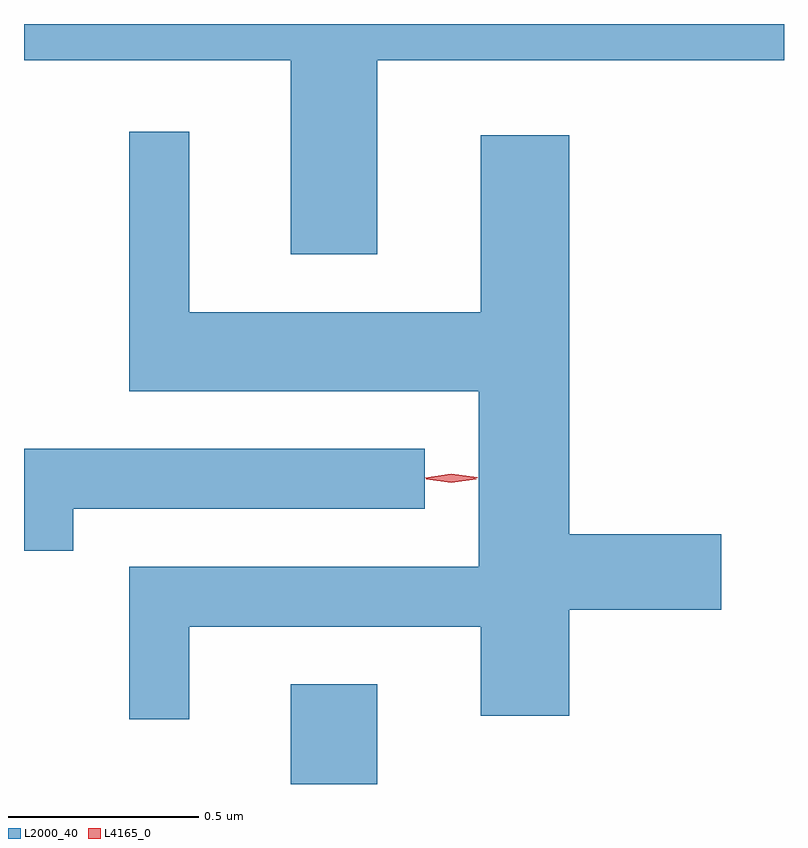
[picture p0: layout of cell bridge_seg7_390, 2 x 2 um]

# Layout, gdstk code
import gdstk
lib = gdstk.Library(unit=1e-6, precision=1e-09)
def R(c, l, rs):  # rectangles x0, y0, x1, y1
    for r in rs: c.add(gdstk.rectangle(r[:2], r[2:], *l))
def P(c, l, *ps):  # polygons
    for p in ps: c.add(gdstk.Polygon(p, *l))
L2000_40 = (2000, 40)
L4165_0 = (4165, 0)

bridge_seg7_390 = lib.new_cell('bridge_seg7_390')
R(bridge_seg7_390, L2000_40, [(1082.781,1796.772,1083.009,1797.034)])
P(bridge_seg7_390, L2000_40, [(1083.009,1798.676),(1084.079,1798.676),(1084.079,1798.772),(1082.079,1798.772),(1082.079,1798.676),(1082.781,1798.676),(1082.781,1798.166),(1083.009,1798.166)],
  [(1082.514,1797.186),(1083.281,1797.186),(1083.281,1796.951),(1083.514,1796.951),(1083.514,1797.231),(1083.914,1797.231),(1083.914,1797.429),(1083.514,1797.429),(1083.514,1798.479),(1083.281,1798.479),(1083.281,1798.014),(1082.514,1798.014),(1082.514,1798.488),(1082.356,1798.488),(1082.356,1797.806),(1083.276,1797.806),(1083.276,1797.344),(1082.356,1797.344),(1082.356,1796.943),(1082.514,1796.943)],
  [(1082.209,1797.496),(1083.133,1797.496),(1083.133,1797.654),(1082.079,1797.654),(1082.079,1797.386),(1082.209,1797.386)])
P(bridge_seg7_390, L4165_0, [(1083.204,1797.568),(1083.134,1797.578),(1083.134,1797.578),(1083.134,1797.578),(1083.203,1797.588),(1083.272,1797.579),(1083.273,1797.578),(1083.272,1797.578)],
  [(1083.203,1797.565),(1083.138,1797.574),(1083.137,1797.575),(1083.138,1797.576),(1083.203,1797.585),(1083.269,1797.575),(1083.269,1797.575),(1083.269,1797.574)])

lib.write_gds('bridge_seg7_390.gds')
